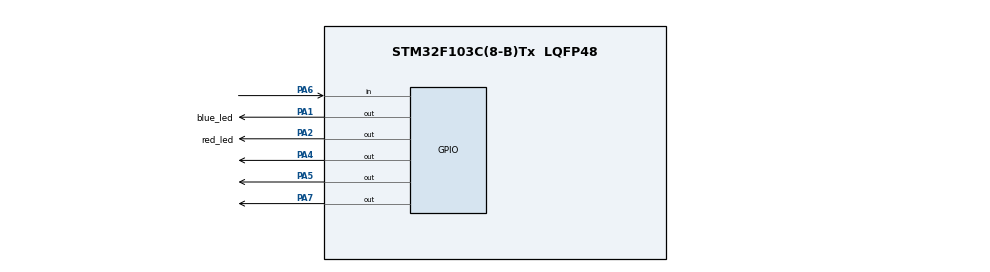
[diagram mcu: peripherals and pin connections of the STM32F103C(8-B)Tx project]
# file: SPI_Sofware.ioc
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Mcu.Family=STM32F1
Mcu.Name=STM32F103C(8-B)Tx
Mcu.Package=LQFP48
NVIC.PriorityGroup=NVIC_PRIORITYGROUP_4
NVIC.TIM2_IRQn=true\:0\:0\:false\:false\:true\:true\:true\:true
PA1.GPIO_Label=blue_led
PA1.PinState=GPIO_PIN_SET
PA1.Signal=GPIO_Output
PA13.Mode=Serial_Wire
PA13.Signal=SYS_JTMS-SWDIO
PA14.Mode=Serial_Wire
PA14.Signal=SYS_JTCK-SWCLK
PA2.GPIO_Label=red_led
PA2.PinState=GPIO_PIN_RESET
PA2.Signal=GPIO_Output
PA4.Signal=GPIO_Output
PA5.Signal=GPIO_Output
PA6.Signal=GPIO_Input
PA7.Signal=GPIO_Output
ProjectManager.HeapSize=0x200
ProjectManager.StackSize=0x400
ProjectManager.TargetToolchain=STM32CubeIDE
RCC.APB1Freq_Value=8000000
RCC.APB2Freq_Value=8000000
TIM2.Period=9
TIM2.Prescaler=7999
VP_TIM2_VS_ClockSourceINT.Mode=Internal
board=custom

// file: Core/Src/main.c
/* USER CODE BEGIN Header */
/**
  ******************************************************************************
  * @file           : main.c
  * @brief          : Main program body
  ******************************************************************************
  * @attention
  *
  * Copyright (c) 2023 STMicroelectronics.
  * All rights reserved.
  *
  * This software is licensed under terms that can be found in the LICENSE file
  * in the root directory of this software component.
  * If no LICENSE file comes with this software, it is provided AS-IS.
  *
  ******************************************************************************
  */
/* USER CODE END Header */
#include "main.h"
#include "stdio.h"

/* USER CODE BEGIN PD */
#define SCLK GPIO_PIN_4
#define MOSI GPIO_PIN_5
#define MISO GPIO_PIN_6
#define SS GPIO_PIN_7
/* USER CODE END PD */

/* USER CODE BEGIN PM */
char spiMasterTX = 1;
/* USER CODE END PM */

TIM_HandleTypeDef htim2;

void SystemClock_Config(void);
static void MX_GPIO_Init(void);
static void MX_TIM2_Init(void);

void SPI_Soft_init();
void clockSignal();
void SPI_Soft_Transmit(uint8_t mData);
uint8_t SPI_Soft_Receive();

/* USER CODE BEGIN 0 */
void SPI_Soft_init(){
	HAL_GPIO_WritePin(GPIOA,SCLK, GPIO_PIN_RESET);
	HAL_GPIO_WritePin(GPIOA, MISO, GPIO_PIN_RESET);
	HAL_GPIO_WritePin(GPIOA, SS , GPIO_PIN_SET);
}
void clockSignal(){
	HAL_GPIO_WritePin(GPIOA, SCLK, GPIO_PIN_RESET);
	HAL_Delay(100);
	HAL_GPIO_WritePin(GPIOA, SCLK, GPIO_PIN_RESET);
	HAL_Delay(100);
}
void SPI_Soft_Tramsit(uint8_t mData){
	uint8_t i = 0;
	HAL_GPIO_WritePin(GPIOA, SS, GPIO_PIN_RESET);
	for ( i = 0; i < 8; i++){
		if ((mData & 0x80) != 0){
			HAL_GPIO_WritePin(GPIOA, MOSI, GPIO_PIN_SET);
		} else {
			HAL_GPIO_WritePin(GPIOA, MOSI, GPIO_PIN_RESET);
		}
		clockSignal();
		mData = mData << 1;
	}
	HAL_GPIO_WritePin(GPIOA, SS, GPIO_PIN_SET);
}

uint8_t SPI_Soft_Receive(){
	uint8_t _data = 0x00, i =0;
	for ( i = 0; i < 8;i++){
		_data = _data << 1;
		_data = _data | MISO ;
		clockSignal();
	}
	return _data;
}
/* USER CODE END 0 */

int main(void)
{

  /* MCU Configuration--------------------------------------------------------*/

  /* Reset of all peripherals, Initializes the Flash interface and the Systick. */
  HAL_Init();

  /* Configure the system clock */
  SystemClock_Config();

  /* Initialize all configured peripherals */
  MX_GPIO_Init();
  MX_TIM2_Init();
  SPI_Soft_init();
  clockSignal();
  /* USER CODE BEGIN 2 */
  HAL_TIM_Base_Start_IT(&htim2);
  /* USER CODE END 2 */

  /* Infinite loop */
  while (1)
  {
	SPI_Soft_Tramsit(spiMasterTX);
	spiMasterTX++;
	HAL_Delay(1000);
  }
}

void SystemClock_Config(void)
{
  RCC_OscInitTypeDef RCC_OscInitStruct = {0};
  RCC_ClkInitTypeDef RCC_ClkInitStruct = {0};

  /** Initializes the RCC Oscillators according to the specified parameters
  * in the RCC_OscInitTypeDef structure.
  */
  RCC_OscInitStruct.OscillatorType = RCC_OSCILLATORTYPE_HSI;
  RCC_OscInitStruct.HSIState = RCC_HSI_ON;
  RCC_OscInitStruct.HSICalibrationValue = RCC_HSICALIBRATION_DEFAULT;
  RCC_OscInitStruct.PLL.PLLState = RCC_PLL_NONE;
  if (HAL_RCC_OscConfig(&RCC_OscInitStruct) != HAL_OK)
  {
    Error_Handler();
  }

  /** Initializes the CPU, AHB and APB buses clocks
  */
  RCC_ClkInitStruct.ClockType = RCC_CLOCKTYPE_HCLK|RCC_CLOCKTYPE_SYSCLK
                              |RCC_CLOCKTYPE_PCLK1|RCC_CLOCKTYPE_PCLK2;
  RCC_ClkInitStruct.SYSCLKSource = RCC_SYSCLKSOURCE_HSI;
  RCC_ClkInitStruct.AHBCLKDivider = RCC_SYSCLK_DIV1;
  RCC_ClkInitStruct.APB1CLKDivider = RCC_HCLK_DIV1;
  RCC_ClkInitStruct.APB2CLKDivider = RCC_HCLK_DIV1;

  if (HAL_RCC_ClockConfig(&RCC_ClkInitStruct, FLASH_LATENCY_0) != HAL_OK)
  {
    Error_Handler();
  }
}

static void MX_TIM2_Init(void)
{

  TIM_ClockConfigTypeDef sClockSourceConfig = {0};
  TIM_MasterConfigTypeDef sMasterConfig = {0};

  htim2.Instance = TIM2;
  htim2.Init.Prescaler = 7999;
  htim2.Init.CounterMode = TIM_COUNTERMODE_UP;
  htim2.Init.Period = 9;
  htim2.Init.ClockDivision = TIM_CLOCKDIVISION_DIV1;
  htim2.Init.AutoReloadPreload = TIM_AUTORELOAD_PRELOAD_DISABLE;
  if (HAL_TIM_Base_Init(&htim2) != HAL_OK)
  {
    Error_Handler();
  }
  sClockSourceConfig.ClockSource = TIM_CLOCKSOURCE_INTERNAL;
  if (HAL_TIM_ConfigClockSource(&htim2, &sClockSourceConfig) != HAL_OK)
  {
    Error_Handler();
  }
  sMasterConfig.MasterOutputTrigger = TIM_TRGO_RESET;
  sMasterConfig.MasterSlaveMode = TIM_MASTERSLAVEMODE_DISABLE;
  if (HAL_TIMEx_MasterConfigSynchronization(&htim2, &sMasterConfig) != HAL_OK)
  {
    Error_Handler();
  }

}

static void MX_GPIO_Init(void)
{
  GPIO_InitTypeDef GPIO_InitStruct = {0};

  /* GPIO Ports Clock Enable */
  __HAL_RCC_GPIOA_CLK_ENABLE();

  /*Configure GPIO pin Output Level */
  HAL_GPIO_WritePin(blue_led_GPIO_Port, blue_led_Pin, GPIO_PIN_SET);

  /*Configure GPIO pin Output Level */
  HAL_GPIO_WritePin(GPIOA, red_led_Pin|GPIO_PIN_4|GPIO_PIN_5|GPIO_PIN_7, GPIO_PIN_RESET);

  /*Configure GPIO pins : blue_led_Pin red_led_Pin PA4 PA5
                           PA7 */
  GPIO_InitStruct.Pin = blue_led_Pin|red_led_Pin|GPIO_PIN_4|GPIO_PIN_5
                          |GPIO_PIN_7;
  GPIO_InitStruct.Mode = GPIO_MODE_OUTPUT_PP;
  GPIO_InitStruct.Pull = GPIO_NOPULL;
  GPIO_InitStruct.Speed = GPIO_SPEED_FREQ_LOW;
  HAL_GPIO_Init(GPIOA, &GPIO_InitStruct);

  /*Configure GPIO pin : PA6 */
  GPIO_InitStruct.Pin = GPIO_PIN_6;
  GPIO_InitStruct.Mode = GPIO_MODE_INPUT;
  GPIO_InitStruct.Pull = GPIO_NOPULL;
  HAL_GPIO_Init(GPIOA, &GPIO_InitStruct);

}

/* USER CODE BEGIN 4 */

void HAL_TIM_PeriodElapsedCallback (TIM_HandleTypeDef* htim ){
}
/* USER CODE END 4 */

void Error_Handler(void)
{
  __disable_irq();
  while (1)
  {
  }
}
